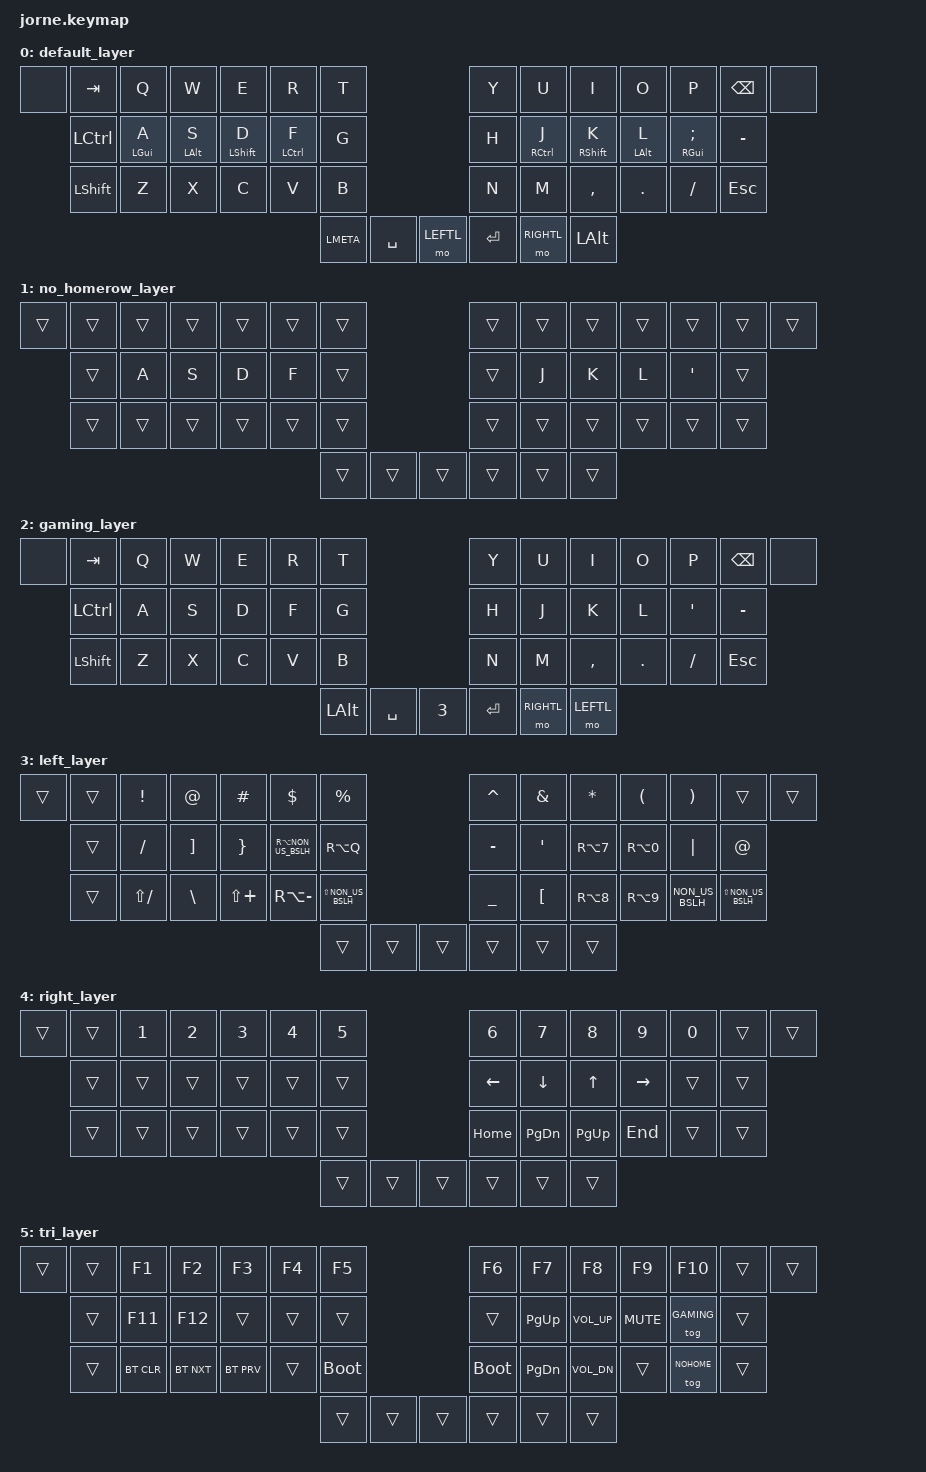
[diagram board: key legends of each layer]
/*
 * Copyright (c) 2020 The ZMK Contributors
 *
 * SPDX-License-Identifier: MIT
 */

#include <behaviors.dtsi>
#include <dt-bindings/zmk/keys.h>
#include <dt-bindings/zmk/bt.h>

#define DEFAULT 0
#define NOHOME 1
#define GAMING 2
#define LEFTL 3
#define RIGHTL 4
#define TRI 5

#define NOGAMING <DEFAULT LEFTL RIGHTL TRI NOHOME>



&mt {
  //  flavor = "tap-preferred";
   // tapping_term_ms = <200>;
};

/ {

    behaviors {
        bhm: balanced_homerow_mods {
            compatible = "zmk,behavior-hold-tap";
            label = "HOMEROW_MODS";
            #binding-cells = <2>;
            tapping-term-ms = <150>;    // <---[[moderate duration]]
            quick-tap-ms = <0>;
            flavor = "balanced";
            bindings = <&kp>, <&kp>;
        };
    };

    conditional_layers {
        compatible = "zmk,conditional-layers";
        tri_layer {
            if-layers = <LEFTL RIGHTL>;
            then-layer = <TRI>;
        };
    };

    combos {
        compatible = "zmk,combos";
        combo_esc {
            timeout-ms = <50>;
            key-positions = <1 2>;
            layers = NOGAMING;
            bindings = <&kp ESC>;
        };
        
        combo_tab {
            timeout-ms = <50>;
            layers = NOGAMING;
            key-positions = <15 16>;
            bindings = <&kp TAB>;
        };
        
        combo_bsp {
            timeout-ms = <50>;
            layers = NOGAMING;
            key-positions = <21 22>;
            bindings = <&kp BSPC>;
        };
        
        combo_lalt {
            timeout-ms = <50>; 
            layers = NOGAMING;
            key-positions = <16 17>;
            bindings = <&kp LALT>;
        };
        
        combo_lgui {
            timeout-ms = <50>;
            layers = NOGAMING;
            key-positions = <17 18>;
            bindings = <&kp LGUI>;
        };

        combo_stickyshift {
            timeout-ms = <50>;
            layers = NOGAMING;
            key-positions = <27 28>;
            bindings = <&sk LSHFT>;
        };

        combo_capsword {
            timeout-ms = <50>;
            layers = NOGAMING;
            key-positions = <28 29>;
            bindings = <&caps_word>;
        };


        combo_gaming_esc {
            timeout-ms = <50>;
            layers = <GAMING>;
            key-positions = <33 34>;
            bindings = <&kp ESC>;
        };

    };
        keymap {
                compatible = "zmk,keymap";
                
       		default_layer {
		bindings = <
	&none &kp TAB   &kp Q &kp W &kp E &kp R &kp T 					                  &kp Y &kp U        &kp I        &kp O       &kp P          &kp BSPC  &none
	      &kp LCTRL &bhm LGUI A &bhm LALT S &bhm LSHIFT D &bhm LCTRL F &kp G 	  	  &kp H &bhm RCTRL J &bhm RSHFT K &bhm LALT L &bhm RGUI SEMI &kp MINUS
	      &kp LSHFT &kp Z &kp X &kp C &kp V &kp B				                      &kp N &kp M        &kp CMMA     &kp DOT     &kp SLASH      &kp ESC
          				                        &kp LMETA &kp SPC &mo LEFTL  			 &kp RET &mo RIGHTL &kp LALT
		>;
		};

            no_homerow_layer {
		bindings = <
        &trans &trans	&trans     &trans       &trans     &trans     &trans                    &trans  &trans  &trans  &trans &trans   &trans &trans 
	           &trans   &kp A      &kp S        &kp D      &kp F      &trans                    &trans  &kp J   &kp K   &kp L  &kp QUOT &trans 
	           &trans   &trans     &trans       &trans     &trans     &trans                    &trans  &trans  &trans  &trans &trans   &trans 
					                                  &trans  &trans &trans 		&trans  &trans &trans
		>;
		};

        	gaming_layer {
		bindings = <
  &none &kp TAB   &kp Q &kp W &kp E &kp R &kp T 					                &kp Y &kp U &kp I    &kp O   &kp P     &kp BSPC  &none
        &kp LCTRL &kp A &kp S &kp D &kp F &kp G 		   	        	            &kp H &kp J &kp K    &kp L   &kp QUOT  &kp MINUS
	    &kp LSHFT &kp Z &kp X &kp C &kp V &kp B        				                &kp N &kp M &kp CMMA &kp DOT &kp SLASH &kp ESC
          				          &kp LALT &kp SPC &kp NUMBER_3  		&kp RET &mo RIGHTL &mo LEFTL
		>;
		};

            left_layer {
		bindings = <
  &trans &trans	&kp EXCL        &kp AT     &kp HASH     &kp DLLR            &kp PRCNT            &kp CARET    &kp AMPS  &kp STAR   &kp LPAR   &kp RPAR        &trans &trans 
         &trans	&kp FSLH        &kp RBKT   &kp RBRC     &kp RA(NON_US_BSLH) &kp RA(Q)            &kp MINUS    &kp APOS  &kp RA(N7) &kp RA(N0) &kp PIPE        &kp AT 
         &trans	&kp LS(FSLH)    &kp BSLH   &kp LS(PLUS) &kp RA(MINUS)       &kp LS(NON_US_BSLH)  &kp UNDER    &kp LBKT  &kp RA(N8) &kp RA(N9) &kp NON_US_BSLH &kp LS(NON_US_BSLH) 
					                            &trans    &trans  &trans  &trans &trans &trans
		>;
        };

       	    right_layer {
		bindings = <
	&trans &trans	&kp NUM_1  &kp NUM_2    &kp NUM_3  &kp NUM_4  &kp NUM_5                 &kp NUM_6 &kp NUM_7 &kp NUM_8 &kp NUM_9 &kp NUM_0 &trans &trans
	       &trans	&trans     &trans       &trans     &trans     &trans                    &kp LEFT  &kp DOWN  &kp UP    &kp RIGHT &trans    &trans
	       &trans	&trans     &trans       &trans     &trans     &trans                    &kp HOME  &kp PG_DN &kp PG_UP &kp END   &trans    &trans
					                              &trans &trans &trans 		&trans  &trans &trans
		>;
		};
			
		
		    tri_layer {
		bindings = <
  &trans &trans	&kp F1      &kp F2    &kp F3      &kp F4    &kp F5 			           &kp F6       &kp F7        &kp F8        &kp F9     &kp F10     &trans &trans
         &trans	&kp F11     &kp F12   &trans      &trans    &trans  				   &trans       &kp PG_UP     &kp K_VOL_UP  &kp K_MUTE &tog GAMING &trans
         &trans	&bt BT_CLR  &bt BT_NXT &bt BT_PRV &trans    &bootloader                &bootloader  &kp PG_DN     &kp K_VOL_DN  &trans     &tog NOHOME &trans
					                              &trans  &trans &trans  					&trans &trans  &trans
		>;
		};	

        
        
	};
};
